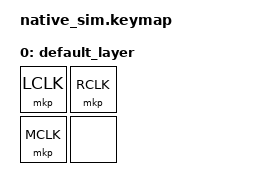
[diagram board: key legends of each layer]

#include <dt-bindings/zmk/input_transform.h>
#include <zephyr/dt-bindings/input/input-event-codes.h>

#include <behaviors.dtsi>
#include <input/processors.dtsi>
#include <dt-bindings/zmk/keys.h>
#include <dt-bindings/zmk/input_mock.h>
#include <dt-bindings/zmk/pointing.h>


&zip_button_behaviors {
    bindings = <&mt LCTL A &mt LSHFT B &mt LALT C>;
};

&mkp_input_listener {
    input-processors = <&zip_button_behaviors>;
};

/ {
    combos {
        compatible = "zmk,combos";
    };

    keymap {
        compatible = "zmk,keymap";
        label ="Default keymap";

        default_layer {
            bindings = <
                &mkp LCLK &mkp RCLK
                &mkp MCLK &none
            >;
        };
    };
};


&mock_input {
    events = <
        ZMK_INPUT_MOCK_PRESS(0,0,10)
        ZMK_INPUT_MOCK_RELEASE(0,0,10)
        ZMK_INPUT_MOCK_PRESS(0,1,10)
        ZMK_INPUT_MOCK_RELEASE(0,1,10)
        ZMK_INPUT_MOCK_PRESS(1,0,10)
        ZMK_INPUT_MOCK_RELEASE(1,0,10)
        ZMK_INPUT_MOCK_PRESS(0,0,500)
        ZMK_INPUT_MOCK_RELEASE(0,0,10)
        ZMK_INPUT_MOCK_PRESS(0,1,500)
        ZMK_INPUT_MOCK_RELEASE(0,1,10)
        ZMK_INPUT_MOCK_PRESS(1,0,500)
        ZMK_INPUT_MOCK_RELEASE(1,0,10)
        ZMK_INPUT_MOCK_PRESS(0,0,10)
        ZMK_INPUT_MOCK_PRESS(0,1,10)
        ZMK_INPUT_MOCK_RELEASE(0,1,10)
        ZMK_INPUT_MOCK_RELEASE(0,0,10)
    >;
};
